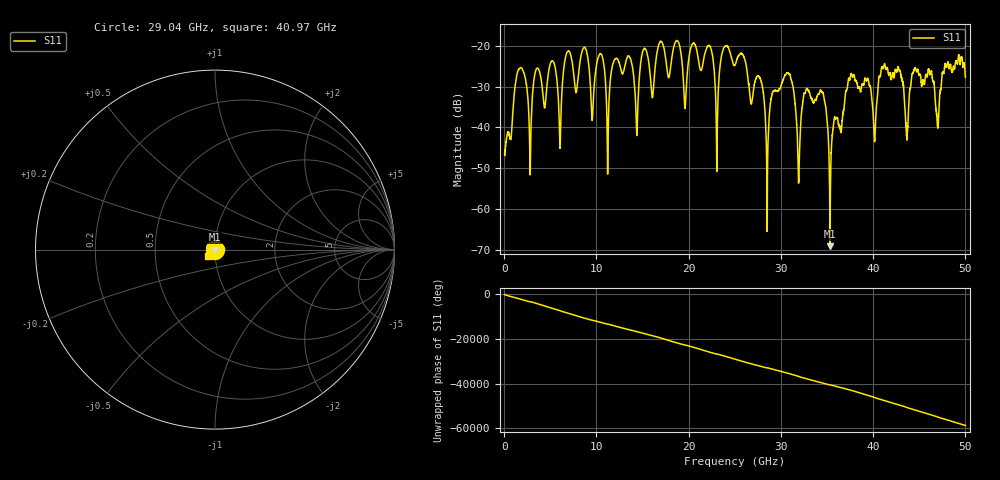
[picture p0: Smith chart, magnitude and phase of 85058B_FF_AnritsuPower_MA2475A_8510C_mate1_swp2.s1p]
!Created with skrf (http://scikit-rf.org).
# Hz S RI R 50.0
!freq ReS11 ImS11
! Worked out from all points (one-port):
!   10001 points, 45 MHz to 50 GHz, reference 50 ohm
!   lowest |S11| = -69.2 dB at 35.33 GHz (marker M1), VSWR 1.00, Z = 50 + j0.0335 ohm
!   |S11| at or under -10 dB: start of sweep to end of sweep
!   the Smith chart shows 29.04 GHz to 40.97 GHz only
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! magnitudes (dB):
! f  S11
! 45 MHz  -46.5
! 1.674 GHz  -25.5
! 2.793 GHz  -48.5
! 3.552 GHz  -25.4
! 6.289 GHz  -30.1
! 8.712 GHz  -20.3
! 11.24 GHz  -45.9
! 12.53 GHz  -24.6
! 14.37 GHz  -41.7
! 15.13 GHz  -20.8
! 18.78 GHz  -18.7
! 19.61 GHz  -35.3
! 22.3 GHz  -20.0
! 23.05 GHz  -50.4
! 23.78 GHz  -20.6
! 25.02 GHz  -24.7
! 27.76 GHz  -28.0
! 28.52 GHz  -60.6
! 31.27 GHz  -29.6
! 31.92 GHz  -53.4
! 34.48 GHz  -31.3
! 35.33 GHz  -69.2
! 37.51 GHz  -27.9
! 42.72 GHz  -25.2
! 43.76 GHz  -39.9
! 44.45 GHz  -25.7
! 46.95 GHz  -39.1
! 50 GHz  -27.7
